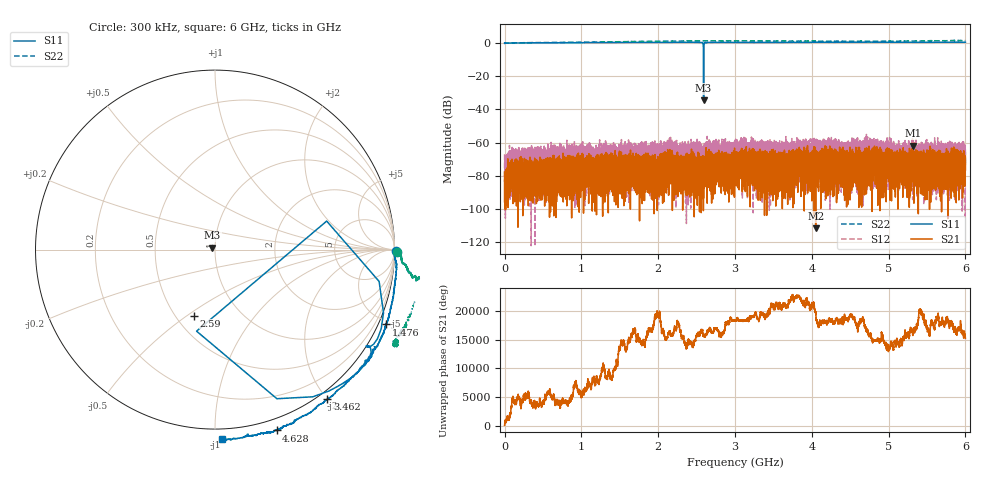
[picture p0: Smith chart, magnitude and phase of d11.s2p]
!Agilent Technologies,N5230C,SG49000117,A.08.50.07
!Agilent N5230C: A.08.50.07
!Date: Thursday, May 16, 2024 17:48:28
!Correction: S11(Full 2 Port(1,2))
!S21(Full 2 Port(1,2))
!S12(Full 2 Port(1,2))
!S22(Full 2 Port(1,2))
!S2P File: Measurements: S11, S21, S12, S22:
# Hz S  MA  R 50
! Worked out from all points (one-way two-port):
!   20001 points, 300 kHz to 6 GHz, reference 50 ohm
!   highest |S21| = -61.81 dB at 5.314 GHz (marker M1); lowest = -111.8 dB at 4.051 GHz (marker M2)
!   lowest |S11| = -34.5 dB at 2.591 GHz (marker M3), VSWR 1.04, Z = 48.5 + j1.09 ohm
!   |S11| at or under -10 dB: 2.590312 GHz to 2.592219 GHz (1.908 MHz wide, 0.0736 % of centre)
!   |S22| runs from -0.3 to 1.6 dB; largest |S21 - S12| = 0.0021
!   S11 on the Smith chart (normalised r, x): 300 kHz: open; 1.476 GHz: -0.47, -4.74; 2.59 GHz: 0.61, -0.53; 3.462 GHz: -0.10, -2.00; 4.628 GHz: -0.09, -1.39; 6 GHz: -0.06, -1.03
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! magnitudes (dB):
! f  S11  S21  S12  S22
! 300 kHz  0.1  -77.8  -67.1  0.1
! 30.9 MHz  0.0  -90.3  -69.8  0.0
! 160.2 MHz  0.0  -81.8  -65.2  0.1
! 1 GHz  0.2  -77.2  -72.2  0.5
! 1.476 GHz  0.3  -73.5  -68.6  0.8
! 2 GHz  0.4  -79.4  -69.0  1.1
! 2.15 GHz  0.4  -74.7  -62.5  1.2
! 2.287 GHz  0.5  -75.9  -69.7  1.2
! 2.59 GHz  -8.3  -93.7  -71.4  1.3
! 2.591 GHz  -34.5  -74.3  -67.0  1.3
! 2.733 GHz  0.4  -78.9  -66.0  1.3
! 2.795 GHz  0.4  -75.2  -72.6  1.3
! 3 GHz  0.4  -75.7  -64.6  1.3
! 3.462 GHz  0.4  -84.9  -64.9  1.2
! 4 GHz  0.4  -69.4  -68.7  1.2
! 4.051 GHz  0.5  -111.8  -66.0  1.1
! 4.628 GHz  0.5  -75.5  -67.3  1.1
! 4.812 GHz  0.5  -67.4  -62.6  1.0
! 5 GHz  0.5  -69.2  -69.9  1.1
! 5.314 GHz  0.5  -61.8  -64.3  1.2
! 5.693 GHz  0.5  -69.4  -63.4  1.4
! 6 GHz  0.5  -68.9  -64.5  1.5
